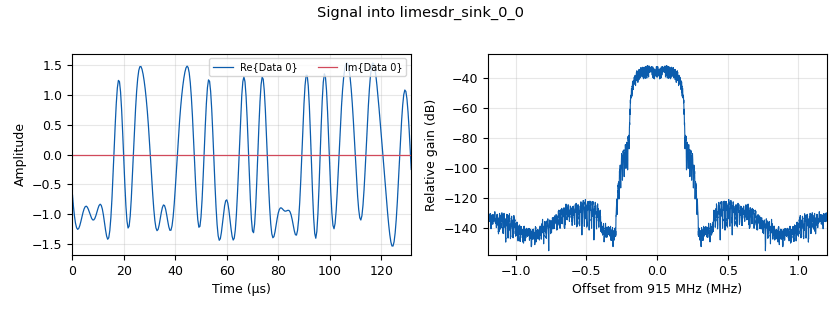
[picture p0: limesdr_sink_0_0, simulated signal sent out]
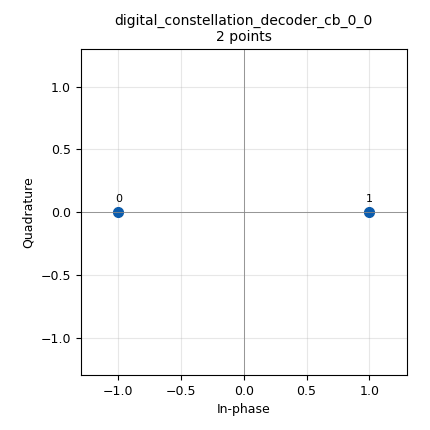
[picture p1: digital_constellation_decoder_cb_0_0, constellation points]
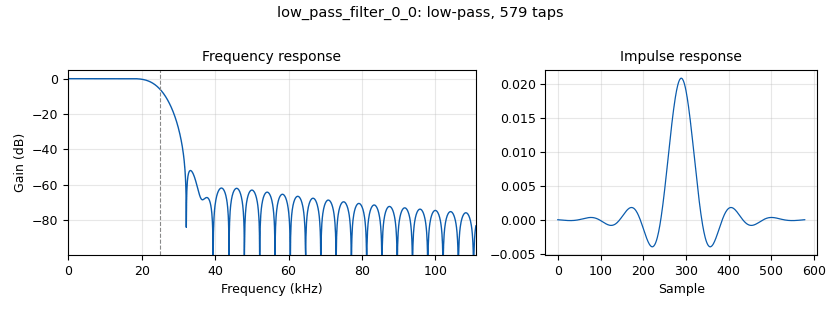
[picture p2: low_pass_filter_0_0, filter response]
options:
  parameters:
    author: William Barnhart
    category: Custom
    generate_options: qt_gui
    id: main
    output_language: python
    run_options: run
    title: Main Block for GMU Ground
  states: {}

blocks:
- name: constellation
  id: variable_constellation
  parameters:
    precision: '8'
    type: bpsk
  states: {}
- name: doppler_freq
  id: variable
  parameters:
    value: freq
  states: {}
- name: samp_rate
  id: variable
  parameters:
    value: 2.4e6
  states: {}
- name: Selective_Combining_0
  id: Selective_Combining
  parameters: {}
  states: {}
- name: analog_random_source_x
  id: analog_random_source_x
  parameters:
    max: '256'
    min: '0'
    num_samps: '10000'
    repeat: 'True'
    type: byte
  states: {}
- name: bb_gain
  id: parameter
  parameters:
    label: baseband gain
    type: eng_float
    value: '20'
  states: {}
- name: blocks_message_debug_0
  id: blocks_message_debug
  parameters: {}
  states: {state: disabled}
- name: blocks_throttle_0
  id: blocks_throttle
  parameters:
    samples_per_second: samp_rate
    type: byte
  states: {}
- name: digital_constellation_decoder_cb_0_0
  id: digital_constellation_decoder_cb
  parameters:
    constellation: constellation
  states: {}
- name: digital_constellation_modulator_1
  id: digital_constellation_modulator
  parameters:
    constellation: constellation
    differential: 'False'
    excess_bw: '0.35'
    samples_per_symbol: '2'
  states: {}
- name: fec_ber_bf_0_0_1_0
  id: fec_ber_bf
  parameters:
    test_mode: 'False'
  states: {}
- name: filter_width
  id: parameter
  parameters:
    label: FM filter width
    type: eng_float
    value: '20000'
  states: {}
- name: fmusbwide_0
  id: fmusbwide
  parameters:
    filter_width: '20000'
    freq: freq
    offset: 50e3
  states: {state: disabled}
- name: fosphor_glfw_sink_c_0
  id: fosphor_glfw_sink_c
  parameters:
    freq_center: freq
    freq_span: samp_rate
    wintype: firdes.WIN_BLACKMAN_hARRIS
  states: {}
- name: fosphor_qt_sink_c_0_0
  id: fosphor_qt_sink_c
  parameters:
    freq_center: freq
    freq_span: samp_rate
    wintype: firdes.WIN_BLACKMAN_hARRIS
  states: {state: disabled}
- name: freq
  id: parameter
  parameters:
    label: frequency
    short_id: f
    type: eng_float
    value: 915e6
  states: {}
- name: freq_corr
  id: parameter
  parameters:
    label: frequency correction (ppm)
    type: eng_float
    value: '0'
  states: {}
- name: gpredict_doppler_0
  id: gpredict_doppler
  parameters:
    gpredict_host: localhost
    gpredict_port: gpredict_port
    verbose: 'True'
  states: {state: disabled}
- name: gpredict_port
  id: parameter
  parameters:
    label: GPredict port
    type: intx
    value: '4532'
  states: {}
- name: if_gain
  id: parameter
  parameters:
    label: IF gain
    type: eng_float
    value: '20'
  states: {}
- name: limesdr_sink_0_0
  id: limesdr_sink
  parameters:
    allow_tcxo_dac: '0'
    channel_mode: '0'
    comment: LimeSDR Mini here!
    gain_dB_ch0: '30'
    gain_dB_ch1: '30'
    oversample: '0'
    pa_path_ch0: '1'
    rf_freq: freq
    samp_rate: samp_rate
    serial: 1D423F7CD55972
  states: {}
- name: limesdr_source_0
  id: limesdr_source
  parameters:
    allow_tcxo_dac: '0'
    channel_mode: '0'
    comment: |-
      Vertical Polarization
      Replace with your own source!
      LimeSDR USB: 0009070105C62E09
    oversample: '0'
    rf_freq: freq
    samp_rate: samp_rate
    serial: 0009070105C62E09
  states: {state: disabled}
- name: limesdr_source_0_0
  id: limesdr_source
  parameters:
    allow_tcxo_dac: '0'
    channel_mode: '0'
    comment: |-
      Horizontal Polarization
      Replace with your own source!
      LimeSDR Mini: 1D423F7CD55972
    oversample: '0'
    rf_freq: freq
    samp_rate: samp_rate
    serial: 1D423F7CD55972
  states: {state: disabled}
- name: limesdr_source_0_1
  id: limesdr_source
  parameters:
    allow_tcxo_dac: '0'
    channel_mode: '2'
    comment: |-
      Vertical Polarization
      Replace with your own source!
      LimeSDR USB: 0009070105C62E09
    gain_dB_ch0: '30'
    gain_dB_ch1: '30'
    lna_path_ch0: '3'
    lna_path_ch1: '3'
    oversample: '0'
    rf_freq: freq
    samp_rate: samp_rate
    serial: 0009070105C62E09
  states: {}
- name: low_pass_filter_0_0
  id: low_pass_filter
  parameters:
    cutoff_freq: 25e3
    decim: '1'
    gain: '1'
    samp_rate: samp_rate
    type: fir_filter_ccf
    width: 10e3
    win: firdes.WIN_HAMMING
  states: {}
- name: low_pass_filter_0_0_0
  id: low_pass_filter
  parameters:
    cutoff_freq: 25e3
    decim: '1'
    gain: '1'
    samp_rate: samp_rate
    type: fir_filter_ccf
    width: 10e3
    win: firdes.WIN_HAMMING
  states: {}
- name: offset
  id: parameter
  parameters:
    label: centre frequency offset
    type: eng_float
    value: 50e3
  states: {}
- name: phase_sync_0
  id: phase_sync
  parameters:
    comment: Assumes Horizontal lags behind Vertical
  states: {}
- name: qtgui_freq_sink_x_0
  id: qtgui_freq_sink_x
  parameters:
    bw: samp_rate
    fc: 915*1e6
    fftsize: '2048'
    name: '"Transmiting data"'
    type: complex
    wintype: firdes.WIN_BLACKMAN_hARRIS
  states: {state: disabled}
- name: qtgui_number_sink_0_0_1_0
  id: qtgui_number_sink
  parameters:
    autoscale: 'True'
    color1: ("blue", "red")
    graph_type: qtgui.NUM_GRAPH_HORIZ
    label1: BER
    min: '0'
    name: '"Synchronized"'
    type: float
    update_time: '0.1'
  states: {}
- name: qtgui_sink_x_0
  id: qtgui_sink_x
  parameters:
    bw: samp_rate
    fc: freq
    fftsize: '1024'
    gui_hint: (1,0,1,1)
    name: '"Horizontal Channel"'
    showrf: 'True'
    type: complex
    wintype: firdes.WIN_BLACKMAN_hARRIS
  states: {}
- name: qtgui_sink_x_0_0
  id: qtgui_sink_x
  parameters:
    bw: samp_rate
    fc: '0'
    fftsize: '1024'
    gui_hint: (2,0,1,1)
    name: '"Input"'
    showrf: 'True'
    type: complex
    wintype: firdes.WIN_BLACKMAN_hARRIS
  states: {state: disabled}
- name: qtgui_sink_x_0_0_0
  id: qtgui_sink_x
  parameters:
    bw: samp_rate
    fc: freq
    fftsize: '1024'
    name: '"Vertical Channel"'
    showrf: 'True'
    type: complex
    wintype: firdes.WIN_BLACKMAN_hARRIS
  states: {}
- name: rational_resampler_xxx_0
  id: rational_resampler_xxx
  parameters:
    decim: '6'
    interp: '25'
    taps: ''
    type: ccc
  states: {}
- name: rf_gain
  id: parameter
  parameters:
    label: RF gain
    type: eng_float
    value: '40'
  states: {}

connections:
- [Selective_Combining_0, '0', digital_constellation_decoder_cb_0_0, '0']
- [Selective_Combining_0, '0', fmusbwide_0, '0']
- [Selective_Combining_0, '0', fosphor_glfw_sink_c_0, '0']
- [Selective_Combining_0, '0', qtgui_sink_x_0_0, '0']
- [analog_random_source_x, '0', blocks_throttle_0, '0']
- [blocks_throttle_0, '0', digital_constellation_modulator_1, '0']
- [blocks_throttle_0, '0', fec_ber_bf_0_0_1_0, '1']
- [digital_constellation_decoder_cb_0_0, '0', fec_ber_bf_0_0_1_0, '0']
- [digital_constellation_modulator_1, '0', rational_resampler_xxx_0, '0']
- [fec_ber_bf_0_0_1_0, '0', qtgui_number_sink_0_0_1_0, '0']
- [gpredict_doppler_0, freq, qtgui_sink_x_0, freq]
- [gpredict_doppler_0, freq, qtgui_sink_x_0_0, freq]
- [gpredict_doppler_0, freq, qtgui_sink_x_0_0_0, freq]
- [gpredict_doppler_0, state, blocks_message_debug_0, print]
- [limesdr_source_0, '0', Selective_Combining_0, '1']
- [limesdr_source_0, '0', phase_sync_0, '1']
- [limesdr_source_0, '0', qtgui_sink_x_0_0_0, '0']
- [limesdr_source_0_0, '0', phase_sync_0, '0']
- [limesdr_source_0_0, '0', qtgui_sink_x_0, '0']
- [limesdr_source_0_1, '0', low_pass_filter_0_0, '0']
- [limesdr_source_0_1, '0', phase_sync_0, '0']
- [limesdr_source_0_1, '1', Selective_Combining_0, '1']
- [limesdr_source_0_1, '1', low_pass_filter_0_0_0, '0']
- [limesdr_source_0_1, '1', phase_sync_0, '1']
- [low_pass_filter_0_0, '0', qtgui_sink_x_0, '0']
- [low_pass_filter_0_0_0, '0', fosphor_qt_sink_c_0_0, '0']
- [low_pass_filter_0_0_0, '0', qtgui_sink_x_0_0_0, '0']
- [phase_sync_0, '0', Selective_Combining_0, '0']
- [rational_resampler_xxx_0, '0', limesdr_sink_0_0, '0']
- [rational_resampler_xxx_0, '0', qtgui_freq_sink_x_0, '0']

metadata:
  file_format: 1
